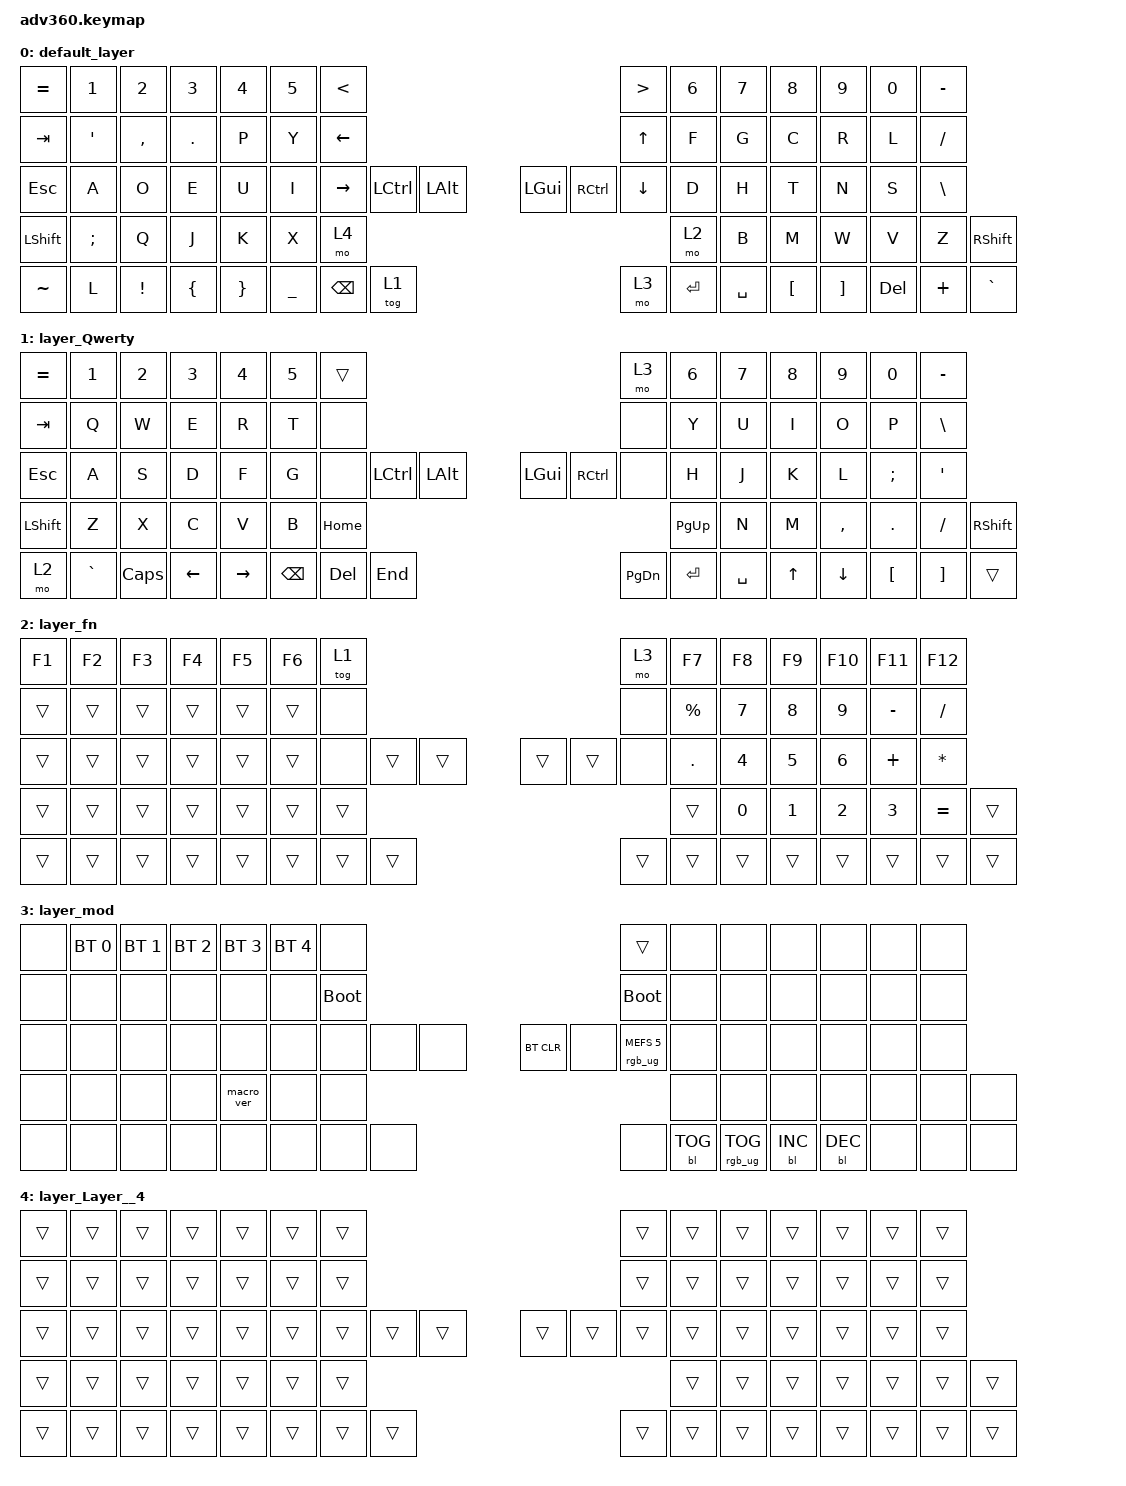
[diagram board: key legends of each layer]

/*
 * Copyright (c) 2020 The ZMK Contributors
 *
 * SPDX-License-Identifier: MIT
 */


/* THIS FILE WAS GENERATED!
 *
 * This file was generated automatically. You may or may not want to
 * edit it directly.
 */

#include <behaviors.dtsi>
#include <dt-bindings/zmk/keys.h>
#include <dt-bindings/zmk/bt.h>
#include <dt-bindings/zmk/rgb.h>
#include <dt-bindings/zmk/backlight.h>

/ {
  behaviors {
    #include "macros.dtsi"
    #include "version.dtsi"

    hm: homerow_mods {
        compatible = "zmk,behavior-hold-tap";
        label = "HOMEROW_MODS";
        #binding-cells = <2>;
        tapping-term-ms = <200>;
        quick_tap_ms = <175>;
        flavor = "tap-preferred";
        bindings = <&kp>, <&kp>;
    };
  };

    keymap {
        compatible = "zmk,keymap";


        default_layer {
            bindings = <
 &kp EQUAL   &kp NUMBER_1           &kp N2          &kp N3           &kp N4  &kp N5            &kp LESS_THAN                                                                &kp GREATER_THAN  &kp N6            &kp N7             &kp N8   &kp N9    &kp N0  &kp MINUS
   &kp TAB        &kp SQT        &kp COMMA      &kp PERIOD            &kp P   &kp Y                 &kp LEFT                                                                          &kp UP   &kp F             &kp G              &kp C    &kp R     &kp L   &kp FSLH
   &kp ESC          &kp A            &kp O           &kp E            &kp U   &kp I                &kp RIGHT      &kp LCTRL  &kp LALT                  &kp LGUI  &kp RCTRL          &kp DOWN   &kp D             &kp H              &kp T    &kp N     &kp S   &kp BSLH
 &kp LSHFT  &kp SEMICOLON            &kp Q           &kp J            &kp K   &kp X                                             &mo 4                     &mo 2                                &kp B             &kp M              &kp W    &kp V     &kp Z  &kp RSHFT
 &kp TILDE          &kp L  &kp EXCLAMATION  &kp LEFT_BRACE  &kp RIGHT_BRACE                        &kp UNDER  &kp BACKSPACE    &tog 1                     &mo 3  &kp ENTER         &kp SPACE          &kp LEFT_BRACKET  &kp RIGHT_BRACKET  &kp DEL  &kp PLUS  &kp GRAVE
            >;
        };

        layer_Qwerty {
            bindings = <
 &kp EQUAL     &kp N1    &kp N2    &kp N3     &kp N4  &kp N5              &trans                                                                 &mo 3  &kp N6  &kp N7     &kp N8            &kp N9     &kp N0  &kp MINUS
   &kp TAB      &kp Q     &kp W     &kp E      &kp R   &kp T               &none                                                                 &none   &kp Y   &kp U      &kp I             &kp O      &kp P   &kp BSLH
   &kp ESC      &kp A     &kp S     &kp D      &kp F   &kp G               &none  &kp LCTRL  &kp LALT                   &kp LGUI  &kp RCTRL      &none   &kp H   &kp J      &kp K             &kp L   &kp SEMI    &kp SQT
 &kp LSHFT      &kp Z     &kp X     &kp C      &kp V   &kp B                                 &kp HOME                  &kp PG_UP                         &kp N   &kp M  &kp COMMA        &kp PERIOD  &kp SLASH  &kp RSHFT
     &mo 2  &kp GRAVE  &kp CAPS  &kp LEFT  &kp RIGHT                    &kp BSPC    &kp DEL   &kp END                  &kp PG_DN  &kp ENTER  &kp SPACE          &kp UP   &kp DOWN  &kp LEFT_BRACKET   &kp RBKT     &trans
            >;
        };

        layer_fn {
            bindings = <
 &kp F1  &kp F2  &kp F3  &kp F4  &kp F5  &kp F6            &tog 1                                                   &mo 3        &kp F7        &kp F8        &kp F9       &kp F10    &kp F11       &kp F12
 &trans  &trans  &trans  &trans  &trans  &trans             &none                                                   &none   &kp PERCENT  &kp NUMBER_7  &kp NUMBER_8  &kp NUMBER_9  &kp MINUS     &kp SLASH
 &trans  &trans  &trans  &trans  &trans  &trans             &none  &trans  &trans                  &trans  &trans   &none    &kp PERIOD  &kp NUMBER_4  &kp NUMBER_5  &kp NUMBER_6   &kp PLUS  &kp ASTERISK
 &trans  &trans  &trans  &trans  &trans  &trans                            &trans                  &trans                  &kp NUMBER_0  &kp NUMBER_1  &kp NUMBER_2  &kp NUMBER_3  &kp EQUAL        &trans
 &trans  &trans  &trans  &trans  &trans                    &trans  &trans  &trans                  &trans  &trans  &trans                      &trans        &trans        &trans     &trans        &trans
            >;
        };

        layer_mod {
            bindings = <
  &none  &bt BT_SEL 0  &bt BT_SEL 1  &bt BT_SEL 2  &bt BT_SEL 3  &bt BT_SEL 4                  &none                                                                          &trans   &none       &none       &none   &none   &none   &none
  &none         &none         &none         &none         &none         &none            &bootloader                                                                     &bootloader   &none       &none       &none   &none   &none   &none
  &none         &none         &none         &none         &none         &none                  &none   &none   &none                  &bt BT_CLR       &none  &rgb_ug RGB_MEFS_CMD 5   &none       &none       &none   &none   &none   &none
  &none         &none         &none         &none    &macro_ver         &none                                  &none                       &none                                       &none       &none       &none   &none   &none   &none
  &none         &none         &none         &none         &none                                &none   &none   &none                       &none  &bl BL_TOG         &rgb_ug RGB_TOG          &bl BL_INC  &bl BL_DEC   &none   &none   &none
            >;
        };

        layer_Layer__4 {
            bindings = <
 &trans  &trans  &trans  &trans  &trans  &trans            &trans                                                  &trans  &trans  &trans  &trans  &trans  &trans  &trans
 &trans  &trans  &trans  &trans  &trans  &trans            &trans                                                  &trans  &trans  &trans  &trans  &trans  &trans  &trans
 &trans  &trans  &trans  &trans  &trans  &trans            &trans  &trans  &trans                  &trans  &trans  &trans  &trans  &trans  &trans  &trans  &trans  &trans
 &trans  &trans  &trans  &trans  &trans  &trans                            &trans                  &trans                  &trans  &trans  &trans  &trans  &trans  &trans
 &trans  &trans  &trans  &trans  &trans                    &trans  &trans  &trans                  &trans  &trans  &trans          &trans  &trans  &trans  &trans  &trans
            >;
        };

    };
};
